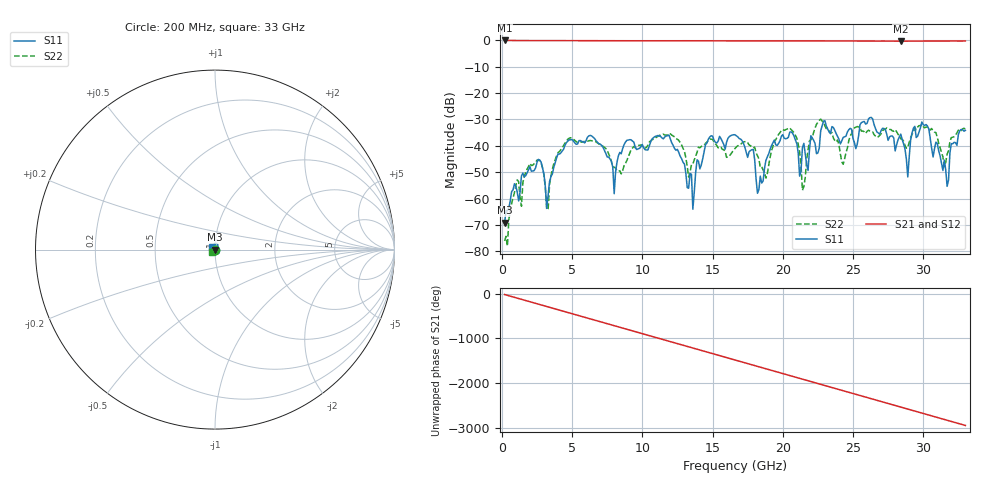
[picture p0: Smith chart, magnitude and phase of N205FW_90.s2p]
# GHZ S RI R 50
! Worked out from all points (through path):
!   329 points, 200 MHz to 33 GHz, reference 50 ohm
!   highest |S21| = -0.02 dB at 200 MHz (marker M1); lowest = -0.3 dB at 28.4 GHz (marker M2)
!   group delay of S21, straight-line fit = 248 ps
!   lowest |S11| = -69.2 dB at 200 MHz (marker M3), VSWR 1.00, Z = 50 + j0.00416 ohm
!   |S11| at or under -10 dB: start of sweep to end of sweep
!   |S22| runs from -78.1 to -29.9 dB; largest |S21 - S12| = 0.0022
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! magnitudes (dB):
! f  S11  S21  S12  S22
! 200 MHz  -69.2  0.0  0.0  -76.1
! 2 GHz  -47.9  -0.1  -0.1  -46.7
! 3.2 GHz  -63.7  -0.1  -0.1  -64.3
! 4 GHz  -43.1  -0.1  -0.1  -42.6
! 5.7 GHz  -38.3  -0.1  -0.1  -38.6
! 8 GHz  -58.2  -0.1  -0.1  -48.1
! 8.9 GHz  -37.9  -0.1  -0.1  -45.6
! 11.2 GHz  -36.3  -0.1  -0.1  -36.1
! 13.6 GHz  -64.0  -0.1  -0.1  -47.0
! 14.7 GHz  -37.5  -0.2  -0.2  -38.0
! 16.6 GHz  -35.8  -0.2  -0.2  -41.1
! 18.2 GHz  -58.0  -0.2  -0.2  -43.8
! 20.5 GHz  -34.8  -0.2  -0.2  -33.2
! 21.4 GHz  -40.7  -0.2  -0.2  -56.9
! 22.1 GHz  -37.0  -0.2  -0.2  -36.9
! 27.6 GHz  -36.6  -0.3  -0.3  -33.8
! 28.4 GHz  -35.6  -0.3  -0.3  -37.4
! 28.9 GHz  -51.8  -0.3  -0.3  -40.6
! 29.3 GHz  -33.3  -0.3  -0.3  -34.4
! 30.3 GHz  -32.5  -0.2  -0.2  -32.9
! 31.7 GHz  -55.4  -0.2  -0.2  -43.2
! 33 GHz  -34.1  -0.2  -0.2  -33.8
